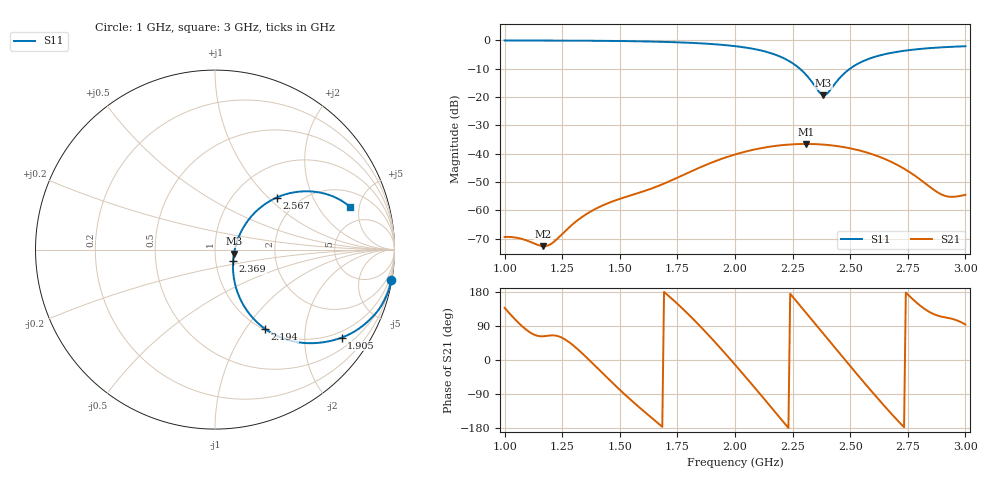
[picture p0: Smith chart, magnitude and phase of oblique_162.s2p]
! TOUCHSTONE file generated by CST MICROWAVE STUDIO
! Date and time: Tue Mar 18 00:02:29 2025
! Project name: oblique.cst
! Parameters = {Tilt=40; Fracture=1; B=10; D=160; F=25; Feed=2.85625; L=100; M=50; R=0.384908; S=2; Theta=270; length=57.125; wave=114.25}
! Header version: 2024
! Port assignment regex: !\s*Touchstone port\s*([0-9]+)\s*=\s*(CST MWS port|CST DES external port|CST DES block port)\s*(.+)\s* \(\"(.*)\"\)(\s*mode\s*([0-9]+))?.*
! Touchstone port assignment:
! Touchstone port 1 = CST MWS port 1 ("")
! Touchstone port 2 = CST MWS port 2 ("")
# GHz S DB R 50
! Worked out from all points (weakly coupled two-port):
!   264 points, 1 GHz to 3 GHz, reference 50 ohm
!   highest |S21| = -36.54 dB at 2.308 GHz (marker M1); lowest = -72.6 dB at 1.167 GHz (marker M2)
!   lowest |S11| = -19.3 dB at 2.384 GHz (marker M3), VSWR 1.24, Z = 61.7 - j2.92 ohm
!   |S11| at or under -10 dB: 2.282 GHz to 2.499 GHz (217.1 MHz wide, 9.08 % of centre)
!   S12 and S22 are empty: the file has one direction only
!   S11 on the Smith chart (normalised r, x): 1 GHz: 0, -12; 1.905 GHz: 0.80, -3.00; 2.194 GHz: 1.02, -1.24; 2.369 GHz: 1.21, -0.15; 2.567 GHz: 1.55, +1.12; 3 GHz: 3.19, +4.04
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1  -0.02 -9.8  -69.35 137.7  -200.00 0.0  -200.00 0.0
1.06844  -0.03 -10.8  -69.91 93.3  -200.00 0.0  -200.00 0.0
1.1673  -0.04 -12.3  -72.61 62.5  -200.00 0.0  -200.00 0.0
1.20532  -0.05 -12.9  -71.60 65.0  -200.00 0.0  -200.00 0.0
1.3346  -0.10 -15.3  -62.40 18.8  -200.00 0.0  -200.00 0.0
1.44867  -0.17 -17.8  -57.44 -48.7  -200.00 0.0  -200.00 0.0
1.6692  -0.47 -24.3  -51.29 -168.5  -200.00 0.0  -200.00 0.0
1.90494  -1.32 -34.8  -42.91 52.7  -200.00 0.0  -200.00 0.0
2.0038  -2.07 -41.0  -40.17 -15.0  -200.00 0.0  -200.00 0.0
2.11027  -3.50 -49.8  -38.07 -90.8  -200.00 0.0  -200.00 0.0
2.19392  -5.64 -57.7  -37.05 -151.7  -200.00 0.0  -200.00 0.0
2.25475  -8.31 -62.3  -36.65 163.7  -200.00 0.0  -200.00 0.0
2.30798  -12.06 -61.5  -36.54 124.6  -200.00 0.0  -200.00 0.0
2.3384  -15.14 -54.0  -36.57 102.2  -200.00 0.0  -200.00 0.0
2.36882  -18.50 -31.7  -36.68 79.8  -200.00 0.0  -200.00 0.0
2.38403  -19.32 -12.5  -36.77 68.6  -200.00 0.0  -200.00 0.0
2.39924  -18.83 7.4  -36.87 57.5  -200.00 0.0  -200.00 0.0
2.48289  -11.01 42.6  -37.81 -3.7  -200.00 0.0  -200.00 0.0
2.56654  -6.96 40.2  -39.42 -64.0  -200.00 0.0  -200.00 0.0
2.673  -4.47 32.9  -42.66 -138.0  -200.00 0.0  -200.00 0.0
2.90114  -2.42 21.0  -54.54 113.8  -200.00 0.0  -200.00 0.0
3  -2.05 17.6  -54.51 93.6  -200.00 0.0  -200.00 0.0
